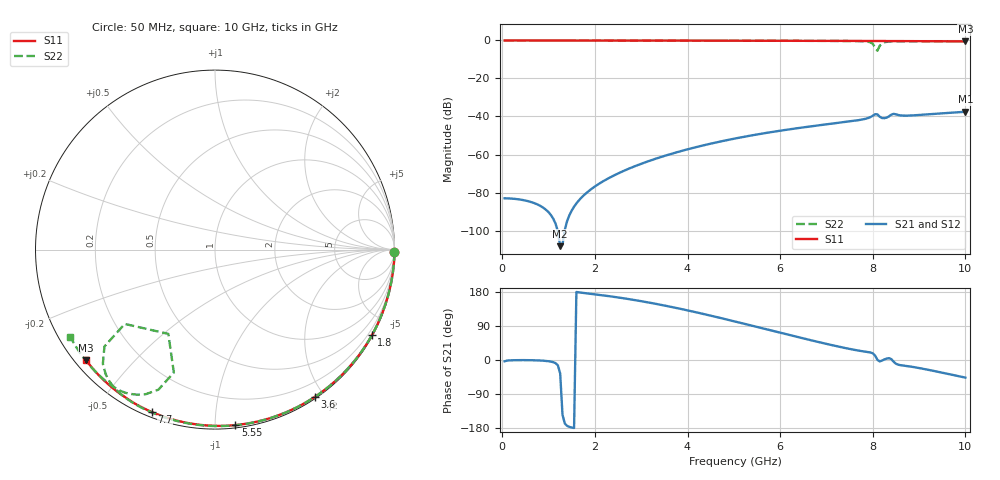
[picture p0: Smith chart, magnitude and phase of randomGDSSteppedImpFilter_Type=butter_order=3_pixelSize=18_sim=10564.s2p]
! freq	dB(S11)	phase(S11)	dB(S12)	phase(S12)
!  dB(S21)	phase(S21)	dB(S22)	phase(S22)
!S-par simulation data
#  GHz  S  DB  R 50
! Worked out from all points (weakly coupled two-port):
!   200 points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, 50 MHz to 10 GHz, reference 50 ohm
!   highest |S21| = -37.52 dB at 10 GHz (marker M1); lowest = -108.2 dB at 1.25 GHz (marker M2)
!   lowest |S11| = -0.5 dB at 10 GHz (marker M3), VSWR 36.33, Z = 1.57 - j18.5 ohm
!   |S11| at or under -10 dB: nowhere
!   |S22| runs from -5.4 to 0.0 dB; largest |S21 - S12| = 0
!   S11 on the Smith chart (normalised r, x): 50 MHz: open; 1.8 GHz: 0.03, -3.92; 3.6 GHz: 0.02, -1.88; 5.55 GHz: 0.02, -1.12; 7.7 GHz: 0.02, -0.68; 10 GHz: 0.03, -0.37
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0.05  -0.00 -0.8  -83.03 -3.5  -83.03 -3.5  -0.00 -0.9
1.25  -0.03 -20.0  -108.22 -35.5  -108.22 -35.5  -0.03 -21.6
1.75  -0.04 -27.9  -81.69 177.0  -81.69 177.0  -0.04 -30.0
1.8  -0.04 -28.6  -80.57 176.3  -80.57 176.3  -0.04 -30.9
2.15  -0.04 -34.1  -74.47 171.0  -74.47 171.0  -0.05 -36.7
2.5  -0.05 -39.4  -69.96 165.1  -69.96 165.1  -0.05 -42.5
3.4  -0.07 -53.0  -61.52 146.2  -61.52 146.2  -0.08 -57.0
3.6  -0.08 -55.9  -60.01 141.3  -60.01 141.3  -0.08 -60.2
5.05  -0.12 -76.5  -51.47 100.8  -51.47 100.8  -0.13 -82.4
5.55  -0.14 -83.3  -49.25 85.7  -49.25 85.7  -0.15 -89.9
6.7  -0.19 -98.5  -45.07 51.1  -45.07 51.1  -0.21 -106.7
7.7  -0.25 -111.2  -41.89 24.7  -41.89 24.7  -0.37 -123.9
7.9  -0.27 -113.7  -40.81 21.0  -40.81 21.0  -0.69 -131.2
8  -0.28 -114.9  -39.62 17.6  -39.62 17.6  -1.73 -138.8
8.05  -0.28 -115.5  -38.79 11.6  -38.79 11.6  -3.72 -140.5
8.1  -0.28 -116.2  -38.88 0.6  -38.88 0.6  -5.40 -119.0
8.15  -0.29 -116.8  -40.12 -3.8  -40.12 -3.8  -2.83 -108.5
8.2  -0.29 -117.4  -40.81 -1.5  -40.81 -1.5  -1.50 -112.0
8.35  -0.31 -119.3  -39.95 4.8  -39.95 4.8  -0.61 -120.4
8.45  -0.32 -120.5  -38.61 -4.4  -38.61 -4.4  -0.48 -123.7
8.85  -0.35 -125.3  -39.44 -18.0  -39.44 -18.0  -0.42 -131.8
10  -0.48 -139.3  -37.52 -46.5  -37.52 -46.5  -0.52 -148.8
